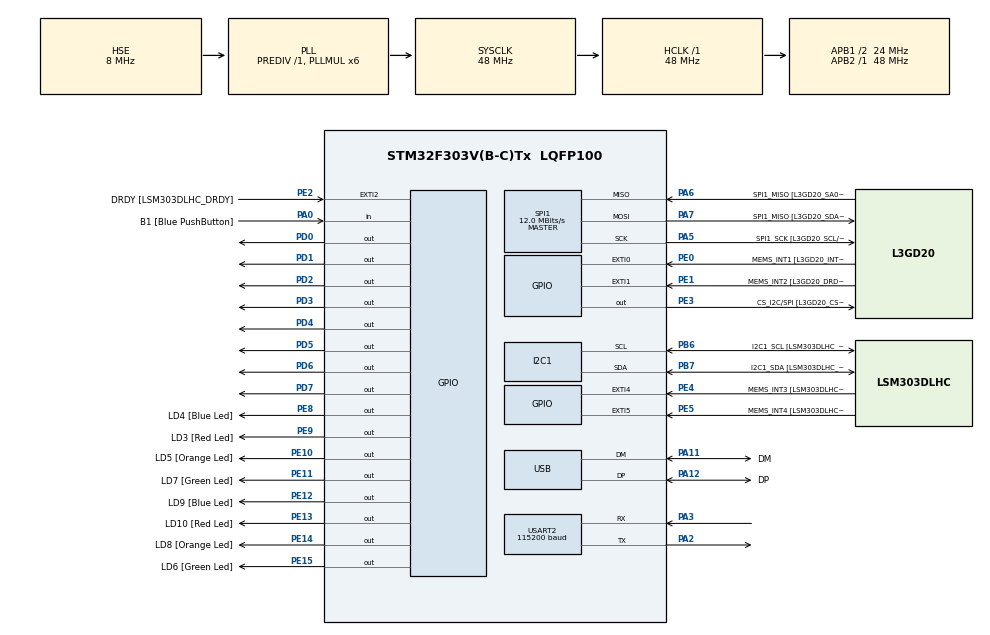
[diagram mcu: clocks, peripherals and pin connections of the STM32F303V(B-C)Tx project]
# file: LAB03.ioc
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I2C1.Timing=0x2000090E
I2C1.Timing-I2C=0x2000090E
Mcu.Family=STM32F3
Mcu.Name=STM32F303V(B-C)Tx
Mcu.Package=LQFP100
NVIC.PriorityGroup=NVIC_PRIORITYGROUP_0
PA0.GPIO_Label=B1 [Blue PushButton]
PA0.Signal=GPIO_Input
PA11.GPIO_Label=DM
PA11.Mode=Device
PA11.Signal=USB_DM
PA12.GPIO_Label=DP
PA12.Mode=Device
PA12.Signal=USB_DP
PA13.GPIO_Label=SWDIO
PA13.Mode=Serial_Wire
PA13.Signal=SYS_JTMS-SWDIO
PA14.GPIO_Label=SWCLK
PA14.Mode=Serial_Wire
PA14.Signal=SYS_JTCK-SWCLK
PA2.Mode=Asynchronous
PA2.Signal=USART2_TX
PA3.Mode=Asynchronous
PA3.Signal=USART2_RX
PA5.GPIO_Label=SPI1_SCK [L3GD20_SCL/SPC]
PA5.Mode=Full_Duplex_Master
PA5.Signal=SPI1_SCK
PA6.GPIO_Label=SPI1_MISO [L3GD20_SA0/SDO]
PA6.Mode=Full_Duplex_Master
PA6.Signal=SPI1_MISO
PA7.GPIO_Label=SPI1_MISO [L3GD20_SDA/SDI/SDO]
PA7.Mode=Full_Duplex_Master
PA7.Signal=SPI1_MOSI
PB3.GPIO_Label=SWO
PB3.Signal=SYS_JTDO-TRACESWO
PB6.GPIO_Label=I2C1_SCL [LSM303DLHC_SCL]
PB6.GPIO_Pu=GPIO_PULLUP
PB6.Mode=I2C
PB6.Signal=I2C1_SCL
PB7.GPIO_Label=I2C1_SDA [LSM303DLHC_SDA]
PB7.GPIO_Pu=GPIO_PULLUP
PB7.Mode=I2C
PB7.Signal=I2C1_SDA
PC14-OSC32_IN.GPIO_Label=OSC32_IN
PC14-OSC32_IN.Signal=RCC_OSC32_IN
PC15-OSC32_OUT.GPIO_Label=OSC32_OUT
PC15-OSC32_OUT.Signal=RCC_OSC32_OUT
PD0.Signal=GPIO_Output
PD1.Signal=GPIO_Output
PD2.Signal=GPIO_Output
PD3.Signal=GPIO_Output
PD4.Signal=GPIO_Output
PD5.Signal=GPIO_Output
PD6.Signal=GPIO_Output
PD7.Signal=GPIO_Output
PE0.GPIO_Label=MEMS_INT1 [L3GD20_INT1]
PE0.GPIO_ModeDefaultEXTI=GPIO_MODE_EVT_RISING
PE0.Signal=GPXTI0
PE1.GPIO_Label=MEMS_INT2 [L3GD20_DRDY/INT2]
PE1.GPIO_ModeDefaultEXTI=GPIO_MODE_EVT_RISING
PE1.Signal=GPXTI1
PE10.GPIO_Label=LD5 [Orange Led]
PE10.Signal=GPIO_Output
PE11.GPIO_Label=LD7 [Green Led]
PE11.Signal=GPIO_Output
PE12.GPIO_Label=LD9 [Blue Led]
PE12.Signal=GPIO_Output
PE13.GPIO_Label=LD10 [Red Led]
PE13.Signal=GPIO_Output
PE14.GPIO_Label=LD8 [Orange Led]
PE14.Signal=GPIO_Output
PE15.GPIO_Label=LD6 [Green Led]
PE15.Signal=GPIO_Output
PE2.GPIO_Label=DRDY [LSM303DLHC_DRDY]
PE2.GPIO_ModeDefaultEXTI=GPIO_MODE_EVT_RISING
PE2.Signal=GPXTI2
PE3.GPIO_Label=CS_I2C/SPI [L3GD20_CS_I2C/SPI]
PE3.Signal=GPIO_Output
PE4.GPIO_Label=MEMS_INT3 [LSM303DLHC_INT1]
PE4.GPIO_ModeDefaultEXTI=GPIO_MODE_EVT_RISING
PE4.Signal=GPXTI4
PE5.GPIO_Label=MEMS_INT4 [LSM303DLHC_INT2]
PE5.GPIO_ModeDefaultEXTI=GPIO_MODE_EVT_RISING
PE5.Signal=GPXTI5
PE8.GPIO_Label=LD4 [Blue Led]
PE8.Signal=GPIO_Output
PE9.GPIO_Label=LD3 [Red Led]
PE9.Signal=GPIO_Output
PF0-OSC_IN.GPIO_Label=OSC_IN
PF0-OSC_IN.Mode=HSE-External-Clock-Source
PF0-OSC_IN.Signal=RCC_OSC_IN
PF1-OSC_OUT.GPIO_Label=OSC_OUT
PF1-OSC_OUT.Signal=RCC_OSC_OUT
ProjectManager.HeapSize=0x200
ProjectManager.StackSize=0x400
ProjectManager.TargetToolchain=CMake
RCC.AHBFreq_Value=48000000
RCC.APB1CLKDivider=RCC_HCLK_DIV2
RCC.APB1Freq_Value=24000000
RCC.APB1TimFreq_Value=48000000
RCC.APB2Freq_Value=48000000
RCC.APB2TimFreq_Value=48000000
RCC.CortexFreq_Value=48000000
RCC.HCLKFreq_Value=48000000
RCC.HSE_VALUE=8000000
RCC.HSI_VALUE=8000000
RCC.LSE_VALUE=32768
RCC.PLLMUL=RCC_PLL_MUL6
RCC.SYSCLKFreq_VALUE=48000000
RCC.SYSCLKSourceVirtual=RCC_SYSCLKSOURCE_PLLCLK
RCC.USBFreq_Value=48000000
SPI1.BaudRatePrescaler=SPI_BAUDRATEPRESCALER_4
SPI1.BaudRatePrescaler-Full_Duplex_Master=SPI_BAUDRATEPRESCALER_2
SPI1.CalculateBaudRate=12.0 MBits/s
SPI1.CalculateBaudRate-Full_Duplex_Master=24.0 MBits/s
SPI1.Direction=SPI_DIRECTION_2LINES
SPI1.Mode=SPI_MODE_MASTER
SPI1.Mode-Full_Duplex_Master=SPI_MODE_MASTER
SPI1.VirtualType=VM_MASTER
USART2.BaudRate=115200
USART2.VirtualMode-Asynchronous=VM_ASYNC
board=STM32F3DISCOVERY

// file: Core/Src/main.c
/* USER CODE BEGIN Header */
/**
  ******************************************************************************
  * @file           : main.c
  * @brief          : Main program body
  ******************************************************************************
  * @attention
  *
  * Copyright (c) 2026 STMicroelectronics.
  * All rights reserved.
  *
  * This software is licensed under terms that can be found in the LICENSE file
  * in the root directory of this software component.
  * If no LICENSE file comes with this software, it is provided AS-IS.
  *
  ******************************************************************************
  */
/* USER CODE END Header */
#include "main.h"
#include <stdlib.h>
#include <time.h>

/* USER CODE BEGIN PD */
#define SEG_A_GPIO_Port GPIOD
#define SEG_A_Pin GPIO_PIN_0

#define SEG_B_GPIO_Port GPIOD
#define SEG_B_Pin GPIO_PIN_1

#define SEG_C_GPIO_Port GPIOD
#define SEG_C_Pin GPIO_PIN_2

#define SEG_D_GPIO_Port GPIOD
#define SEG_D_Pin GPIO_PIN_3

#define SEG_E_GPIO_Port GPIOD
#define SEG_E_Pin GPIO_PIN_4

#define SEG_F_GPIO_Port GPIOD
#define SEG_F_Pin GPIO_PIN_5

#define SEG_G_GPIO_Port GPIOD
#define SEG_G_Pin GPIO_PIN_6

#define ID_LEN (sizeof(student_id)/sizeof(student_id[0]))

/* USER CODE END PD */

I2C_HandleTypeDef hi2c1;

SPI_HandleTypeDef hspi1;

UART_HandleTypeDef huart2;

PCD_HandleTypeDef hpcd_USB_FS;

void SystemClock_Config(void);
static void MX_GPIO_Init(void);
static void MX_I2C1_Init(void);
static void MX_SPI1_Init(void);
static void MX_USART2_UART_Init(void);
static void MX_USB_PCD_Init(void);

/* USER CODE BEGIN 0 */
/* Function to update the 7-segment display */
uint8_t last_button = 0;

uint8_t counter = 0;
uint8_t last_inc = 0;
uint8_t last_dec = 0;

uint8_t student_id[] = {1,0,2,1,0};   // CHANGE THIS
uint8_t index_id = 0;
uint8_t button_last = 0;

void display_number(uint8_t num) {
    static const uint8_t hex_patterns[16][7] = {
        {0,1,1,1,1,1,1}, // 0
        {0,0,0,0,1,1,0}, // 1
        {1,0,1,1,0,1,1}, // 2
        {1,0,0,1,1,1,1}, // 3
        {1,1,0,0,1,1,0}, // 4
        {1,1,0,1,1,0,1}, // 5
        {1,1,1,1,1,0,1}, // 6
        {0,0,0,0,1,1,1}, // 7
        {1,1,1,1,1,1,1}, // 8
        {1,1,0,1,1,1,1}, // 9
        {1,1,1,0,1,1,1}, // A
        {1,1,1,1,1,0,0}, // b
        {0,1,1,1,0,0,1}, // C
        {1,0,1,1,1,1,0}, // d
        {1,1,1,1,0,0,1}, // E
        {1,1,1,0,0,0,1}  // F
    };

    HAL_GPIO_WritePin(SEG_A_GPIO_Port, SEG_A_Pin, !hex_patterns[num][6]);
    HAL_GPIO_WritePin(SEG_B_GPIO_Port, SEG_B_Pin, !hex_patterns[num][5]);
    HAL_GPIO_WritePin(SEG_C_GPIO_Port, SEG_C_Pin, !hex_patterns[num][4]);
    HAL_GPIO_WritePin(SEG_D_GPIO_Port, SEG_D_Pin, !hex_patterns[num][3]);
    HAL_GPIO_WritePin(SEG_E_GPIO_Port, SEG_E_Pin, !hex_patterns[num][2]);
    HAL_GPIO_WritePin(SEG_F_GPIO_Port, SEG_F_Pin, !hex_patterns[num][1]);
    HAL_GPIO_WritePin(SEG_G_GPIO_Port, SEG_G_Pin, !hex_patterns[num][0]);

}

/* USER CODE END 0 */

int main(void)
{

  /* MCU Configuration--------------------------------------------------------*/

  /* Reset of all peripherals, Initializes the Flash interface and the Systick. */
  HAL_Init();

  /* Configure the system clock */
  SystemClock_Config();

  /* Initialize all configured peripherals */
  MX_GPIO_Init();
  MX_I2C1_Init();
  MX_SPI1_Init();
  MX_USART2_UART_Init();
  MX_USB_PCD_Init();

  /* Infinite loop */
  while (1)
  {
    // for (uint8_t i = 0; i < 16; i++) {
    //     display_number(i);
    //     HAL_Delay(2000);
    // }
    // uint8_t button_now = HAL_GPIO_ReadPin(GPIOA, GPIO_PIN_0);

    // if (button_now == GPIO_PIN_SET && button_last == GPIO_PIN_RESET)
    // {
    //     HAL_Delay(50); // debounce

    //     display_number(student_id[index_id]);

    //     index_id++;
    //     if (index_id >= ID_LEN)
    //         index_id = 0;
    // }

    // button_last = button_now;
    // uint8_t inc_now = HAL_GPIO_ReadPin(GPIOA, GPIO_PIN_0);
    // uint8_t dec_now = HAL_GPIO_ReadPin(GPIOB, GPIO_PIN_5);

    // if (inc_now == GPIO_PIN_SET && last_inc == GPIO_PIN_RESET) {
    //     HAL_Delay(50);
    //     counter = (counter + 1) & 0x0F;
    //     display_number(counter);
    // }

    // if (dec_now == GPIO_PIN_SET && last_dec == GPIO_PIN_RESET) {
    //     HAL_Delay(50);
    //     counter = (counter == 0) ? 15 : counter - 1;
    //     display_number(counter);
    // }

    // last_inc = inc_now;
    // last_dec = dec_now;
    uint8_t btn = HAL_GPIO_ReadPin(GPIOA, GPIO_PIN_0);

    if (btn == GPIO_PIN_SET && last_button == GPIO_PIN_RESET)
    {
        HAL_Delay(40); // debounce

        uint8_t dice = (rand() % 6) + 1;  // 1 to 6
        display_number(dice);
    }

    last_button = btn;

  }
}

void SystemClock_Config(void)
{
  RCC_OscInitTypeDef RCC_OscInitStruct = {0};
  RCC_ClkInitTypeDef RCC_ClkInitStruct = {0};
  RCC_PeriphCLKInitTypeDef PeriphClkInit = {0};

  /** Initializes the RCC Oscillators according to the specified parameters
  * in the RCC_OscInitTypeDef structure.
  */
  RCC_OscInitStruct.OscillatorType = RCC_OSCILLATORTYPE_HSI|RCC_OSCILLATORTYPE_HSE;
  RCC_OscInitStruct.HSEState = RCC_HSE_BYPASS;
  RCC_OscInitStruct.HSEPredivValue = RCC_HSE_PREDIV_DIV1;
  RCC_OscInitStruct.HSIState = RCC_HSI_ON;
  RCC_OscInitStruct.HSICalibrationValue = RCC_HSICALIBRATION_DEFAULT;
  RCC_OscInitStruct.PLL.PLLState = RCC_PLL_ON;
  RCC_OscInitStruct.PLL.PLLSource = RCC_PLLSOURCE_HSE;
  RCC_OscInitStruct.PLL.PLLMUL = RCC_PLL_MUL6;
  if (HAL_RCC_OscConfig(&RCC_OscInitStruct) != HAL_OK)
  {
    Error_Handler();
  }

  /** Initializes the CPU, AHB and APB buses clocks
  */
  RCC_ClkInitStruct.ClockType = RCC_CLOCKTYPE_HCLK|RCC_CLOCKTYPE_SYSCLK
                              |RCC_CLOCKTYPE_PCLK1|RCC_CLOCKTYPE_PCLK2;
  RCC_ClkInitStruct.SYSCLKSource = RCC_SYSCLKSOURCE_PLLCLK;
  RCC_ClkInitStruct.AHBCLKDivider = RCC_SYSCLK_DIV1;
  RCC_ClkInitStruct.APB1CLKDivider = RCC_HCLK_DIV2;
  RCC_ClkInitStruct.APB2CLKDivider = RCC_HCLK_DIV1;

  if (HAL_RCC_ClockConfig(&RCC_ClkInitStruct, FLASH_LATENCY_1) != HAL_OK)
  {
    Error_Handler();
  }
  PeriphClkInit.PeriphClockSelection = RCC_PERIPHCLK_USB|RCC_PERIPHCLK_USART2
                              |RCC_PERIPHCLK_I2C1;
  PeriphClkInit.Usart2ClockSelection = RCC_USART2CLKSOURCE_PCLK1;
  PeriphClkInit.I2c1ClockSelection = RCC_I2C1CLKSOURCE_HSI;
  PeriphClkInit.USBClockSelection = RCC_USBCLKSOURCE_PLL;
  if (HAL_RCCEx_PeriphCLKConfig(&PeriphClkInit) != HAL_OK)
  {
    Error_Handler();
  }
}

static void MX_I2C1_Init(void)
{

  hi2c1.Instance = I2C1;
  hi2c1.Init.Timing = 0x2000090E;
  hi2c1.Init.OwnAddress1 = 0;
  hi2c1.Init.AddressingMode = I2C_ADDRESSINGMODE_7BIT;
  hi2c1.Init.DualAddressMode = I2C_DUALADDRESS_DISABLE;
  hi2c1.Init.OwnAddress2 = 0;
  hi2c1.Init.OwnAddress2Masks = I2C_OA2_NOMASK;
  hi2c1.Init.GeneralCallMode = I2C_GENERALCALL_DISABLE;
  hi2c1.Init.NoStretchMode = I2C_NOSTRETCH_DISABLE;
  if (HAL_I2C_Init(&hi2c1) != HAL_OK)
  {
    Error_Handler();
  }

  /** Configure Analogue filter
  */
  if (HAL_I2CEx_ConfigAnalogFilter(&hi2c1, I2C_ANALOGFILTER_ENABLE) != HAL_OK)
  {
    Error_Handler();
  }

  /** Configure Digital filter
  */
  if (HAL_I2CEx_ConfigDigitalFilter(&hi2c1, 0) != HAL_OK)
  {
    Error_Handler();
  }

}

static void MX_SPI1_Init(void)
{

  /* SPI1 parameter configuration*/
  hspi1.Instance = SPI1;
  hspi1.Init.Mode = SPI_MODE_MASTER;
  hspi1.Init.Direction = SPI_DIRECTION_2LINES;
  hspi1.Init.DataSize = SPI_DATASIZE_4BIT;
  hspi1.Init.CLKPolarity = SPI_POLARITY_LOW;
  hspi1.Init.CLKPhase = SPI_PHASE_1EDGE;
  hspi1.Init.NSS = SPI_NSS_SOFT;
  hspi1.Init.BaudRatePrescaler = SPI_BAUDRATEPRESCALER_4;
  hspi1.Init.FirstBit = SPI_FIRSTBIT_MSB;
  hspi1.Init.TIMode = SPI_TIMODE_DISABLE;
  hspi1.Init.CRCCalculation = SPI_CRCCALCULATION_DISABLE;
  hspi1.Init.CRCPolynomial = 7;
  hspi1.Init.CRCLength = SPI_CRC_LENGTH_DATASIZE;
  hspi1.Init.NSSPMode = SPI_NSS_PULSE_ENABLE;
  if (HAL_SPI_Init(&hspi1) != HAL_OK)
  {
    Error_Handler();
  }

}

static void MX_USART2_UART_Init(void)
{

  huart2.Instance = USART2;
  huart2.Init.BaudRate = 115200;
  huart2.Init.WordLength = UART_WORDLENGTH_8B;
  huart2.Init.StopBits = UART_STOPBITS_1;
  huart2.Init.Parity = UART_PARITY_NONE;
  huart2.Init.Mode = UART_MODE_TX_RX;
  huart2.Init.HwFlowCtl = UART_HWCONTROL_NONE;
  huart2.Init.OverSampling = UART_OVERSAMPLING_16;
  huart2.Init.OneBitSampling = UART_ONE_BIT_SAMPLE_DISABLE;
  huart2.AdvancedInit.AdvFeatureInit = UART_ADVFEATURE_NO_INIT;
  if (HAL_UART_Init(&huart2) != HAL_OK)
  {
    Error_Handler();
  }

}

static void MX_USB_PCD_Init(void)
{

  hpcd_USB_FS.Instance = USB;
  hpcd_USB_FS.Init.dev_endpoints = 8;
  hpcd_USB_FS.Init.speed = PCD_SPEED_FULL;
  hpcd_USB_FS.Init.phy_itface = PCD_PHY_EMBEDDED;
  hpcd_USB_FS.Init.low_power_enable = DISABLE;
  hpcd_USB_FS.Init.battery_charging_enable = DISABLE;
  if (HAL_PCD_Init(&hpcd_USB_FS) != HAL_OK)
  {
    Error_Handler();
  }

}

static void MX_GPIO_Init(void)
{
  GPIO_InitTypeDef GPIO_InitStruct = {0};

  /* GPIO Ports Clock Enable */
  __HAL_RCC_GPIOE_CLK_ENABLE();
  __HAL_RCC_GPIOC_CLK_ENABLE();
  __HAL_RCC_GPIOF_CLK_ENABLE();
  __HAL_RCC_GPIOA_CLK_ENABLE();
  __HAL_RCC_GPIOD_CLK_ENABLE();
  __HAL_RCC_GPIOB_CLK_ENABLE();

  /*Configure GPIO pin Output Level */
  HAL_GPIO_WritePin(GPIOE, CS_I2C_SPI_Pin|LD4_Pin|LD3_Pin|LD5_Pin
                          |LD7_Pin|LD9_Pin|LD10_Pin|LD8_Pin
                          |LD6_Pin, GPIO_PIN_RESET);

  /*Configure GPIO pin Output Level */
  HAL_GPIO_WritePin(GPIOD, GPIO_PIN_0|GPIO_PIN_1|GPIO_PIN_2|GPIO_PIN_3
                          |GPIO_PIN_4|GPIO_PIN_5|GPIO_PIN_6|GPIO_PIN_7, GPIO_PIN_RESET);

  /*Configure GPIO pins : DRDY_Pin MEMS_INT3_Pin MEMS_INT4_Pin MEMS_INT1_Pin
                           MEMS_INT2_Pin */
  GPIO_InitStruct.Pin = DRDY_Pin|MEMS_INT3_Pin|MEMS_INT4_Pin|MEMS_INT1_Pin
                          |MEMS_INT2_Pin;
  GPIO_InitStruct.Mode = GPIO_MODE_EVT_RISING;
  GPIO_InitStruct.Pull = GPIO_NOPULL;
  HAL_GPIO_Init(GPIOE, &GPIO_InitStruct);

  /*Configure GPIO pins : CS_I2C_SPI_Pin LD4_Pin LD3_Pin LD5_Pin
                           LD7_Pin LD9_Pin LD10_Pin LD8_Pin
                           LD6_Pin */
  GPIO_InitStruct.Pin = CS_I2C_SPI_Pin|LD4_Pin|LD3_Pin|LD5_Pin
                          |LD7_Pin|LD9_Pin|LD10_Pin|LD8_Pin
                          |LD6_Pin;
  GPIO_InitStruct.Mode = GPIO_MODE_OUTPUT_PP;
  GPIO_InitStruct.Pull = GPIO_NOPULL;
  GPIO_InitStruct.Speed = GPIO_SPEED_FREQ_LOW;
  HAL_GPIO_Init(GPIOE, &GPIO_InitStruct);

  /*Configure GPIO pin : B1_Pin */
  GPIO_InitStruct.Pin = B1_Pin;
  GPIO_InitStruct.Mode = GPIO_MODE_INPUT;
  GPIO_InitStruct.Pull = GPIO_NOPULL;
  HAL_GPIO_Init(B1_GPIO_Port, &GPIO_InitStruct);

  /*Configure GPIO pins : PD0 PD1 PD2 PD3
                           PD4 PD5 PD6 PD7 */
  GPIO_InitStruct.Pin = GPIO_PIN_0|GPIO_PIN_1|GPIO_PIN_2|GPIO_PIN_3
                          |GPIO_PIN_4|GPIO_PIN_5|GPIO_PIN_6|GPIO_PIN_7;
  GPIO_InitStruct.Mode = GPIO_MODE_OUTPUT_PP;
  GPIO_InitStruct.Pull = GPIO_NOPULL;
  GPIO_InitStruct.Speed = GPIO_SPEED_FREQ_LOW;
  HAL_GPIO_Init(GPIOD, &GPIO_InitStruct);

}

void Error_Handler(void)
{
  __disable_irq();
  while (1)
  {
  }
}
